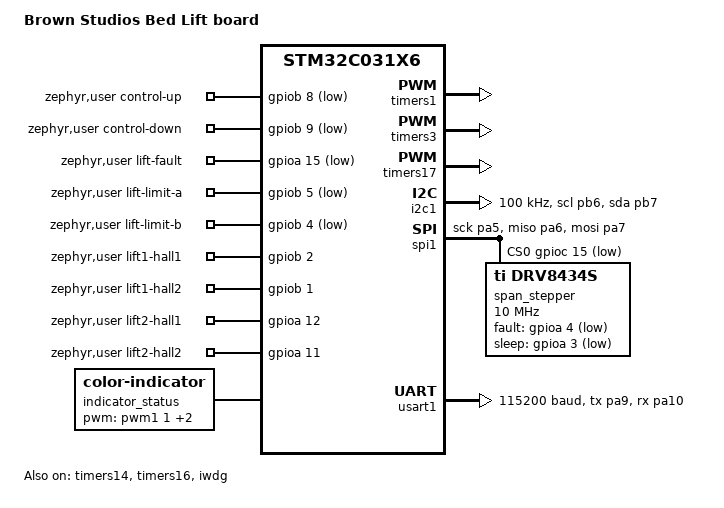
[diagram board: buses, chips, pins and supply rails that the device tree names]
/dts-v1/;
#include <st/c0/stm32c031X6.dtsi>
#include <st/c0/stm32c031c(4-6)tx-pinctrl.dtsi>

#define USE_SPI_DMA 0

/ {
	model = "Brown Studios Bed Lift board";
	compatible = "brownstudios,bedlift";

	chosen {
		zephyr,sram = &sram0;
		zephyr,flash = &flash0;
		zephyr,console = &usart1;
		zephyr,shell-uart = &usart1;
	};

	zephyr,user {
		control-up-gpios = <&gpiob 8 GPIO_ACTIVE_LOW>;
		control-down-gpios = <&gpiob 9 GPIO_ACTIVE_LOW>;
		lift-fault-gpios = <&gpioa 15 GPIO_ACTIVE_LOW>;
		lift-limit-a-gpios = <&gpiob 5 GPIO_ACTIVE_LOW>;
		lift-limit-b-gpios = <&gpiob 4 GPIO_ACTIVE_LOW>;
		lift1-hall1-gpios = <&gpiob 2 GPIO_ACTIVE_HIGH>;
		lift1-hall2-gpios = <&gpiob 1 GPIO_ACTIVE_HIGH>;
		lift2-hall1-gpios = <&gpioa 12 GPIO_ACTIVE_HIGH>;
		lift2-hall2-gpios = <&gpioa 11 GPIO_ACTIVE_HIGH>;
	};

	pwm_set {
		compatible = "pwm-set";

		span_step: span_step { /* frequency varies at runtime */
			pwms = <&pwm17 1 0 PWM_POLARITY_NORMAL>;
		};

		/* polarity inverted to facilitate use of slow decay mode */
		lift1_in1: lift1_in1 {
			pwms = <&pwm3 3 PWM_USEC(40) PWM_POLARITY_INVERTED>;
		};
		lift1_in2: lift1_in2 {
			pwms = <&pwm3 2 PWM_USEC(40) PWM_POLARITY_INVERTED>;
		};
		lift2_in1: lift2_in1 {
			pwms = <&pwm3 1 PWM_USEC(40) PWM_POLARITY_INVERTED>;
		};
		lift2_in2: lift2_in2 {
			pwms = <&pwm3 4 PWM_USEC(40) PWM_POLARITY_INVERTED>;
		};
	};

	indicator_status: indicator_status {
		compatible = "color-indicator";

		pwms = <&pwm1 1 PWM_USEC(1000) PWM_POLARITY_NORMAL>,
			<&pwm1 2 PWM_USEC(1000) PWM_POLARITY_NORMAL>,
			<&pwm1 3 PWM_USEC(1000) PWM_POLARITY_NORMAL>;
	};
};

&clk_hsi {
	status = "okay";
};

&rcc {
	clocks = <&clk_hsi>;
	clock-frequency = <DT_FREQ_M(48)>;
	ahb-prescaler = <1>;
	apb1-prescaler = <4>;
};

&exti {
	/* An interrupt decodes quadrature pulses from the lift hall sensors and must capture both edges
	 * of jitter pulses on the order of microseconds to track position.
	 * TODO: Change the hardware so the hall sensor inputs are on EXTI0-1 and EXTI2-3 with higher priority
	 *       then lower the priority of EXTI4-15. Unfortunately the pins are scattered across all EXTI lines.
	 * Requires elevated priority. */
	interrupts = <5 2>, <6 2>, <7 2>;
};

&timers1 {
	/* Divide the 24 MHz clock by 0+1 for timing 1000 Hz LED PWM. */
	st,prescaler = <0>;
	status = "okay";

	pwm1: pwm {
		/* red, green, blue */
		pinctrl-0 = <&tim1_ch1_pa0>, <&tim1_ch2_pa1>, <&tim1_ch3_pa2>;
		pinctrl-names = "default";
		status = "okay";
	};
};

&timers3 {
	/* Divide the 24 MHz clock by 0+1 for timing 25000 Hz lift actuator PWM. */
	st,prescaler = <0>;
	status = "okay";

	pwm3: pwm {
		/* lift2_in1, lift1_in2, lift1_in1, lift2_in2 */
		pinctrl-0 = <&tim3_ch1_pc6>, <&tim3_ch2_pb3>, <&tim3_ch3_pb0>, <&tim3_ch4_pa8>;
		pinctrl-names = "default";
		status = "okay";
	};
};

&timers14 {
	/* Divide the 24 MHz clock by 7+1 for timing 100 Hz span loop ticks. */
	st,prescaler = <7>;
	status = "okay";

    span_loop_tick: counter {
		compatible = "st,stm32-counter";
		status = "okay";
	};
};

&timers16 {
	/* Divide the 24 MHz clock by 7+1 for timing 100 Hz lift loop ticks.
	 * We could perhaps share this responsibility with the other timer but we have the hardware
	 * resources available and it's simpler to keep the loops decoupled. */
	st,prescaler = <7>;
	status = "okay";

    lift_loop_tick: counter {
		compatible = "st,stm32-counter";
		status = "okay";
	};
};

&timers17 {
	/* Divide the 24 MHz clock by 3+1 for timing 100 to 25000 Hz span actuator step pulses. */
	st,prescaler = <3>;
	status = "okay";

	/* An interrupt counts every step to track actuator position at high speed.
	 * Requires elevated priority. */
	interrupts = <22 2>;

	pwm17: pwm {
		pinctrl-0 = <&tim17_ch1_pc14>;
		pinctrl-names = "default";
		status = "okay";
	};
};

&i2c1 {
	pinctrl-0 = <&i2c1_scl_pb6>, <&i2c1_sda_pb7>;
	pinctrl-names = "default";
	clock-frequency = <I2C_BITRATE_STANDARD>;
	status = "okay";
};

&spi1 {
	pinctrl-0 = <&spi1_sck_pa5>, <&spi1_miso_pa6>, <&spi1_mosi_pa7>;
	pinctrl-names = "default";
	cs-gpios = <&gpioc 15 GPIO_ACTIVE_LOW>;
	status = "okay";

#if USE_SPI_DMA
	dmas = <&dma1 3 17 (STM32_DMA_PERIPH_TX | STM32_DMA_PRIORITY_HIGH)>,
			<&dma1 2 16 (STM32_DMA_PERIPH_RX | STM32_DMA_PRIORITY_HIGH)>;
	dma-names = "tx", "rx";
#endif

	span_stepper: spi-device@0 {
		compatible = "ti,drv8434s";

		status = "okay";
		reg = <0>;
		spi-max-frequency = <10000000>; /* datasheet maximum: 10 MHz */
		/* TODO: These will be needed for Zephyr 4.3, PIO currently has Zephyr 4.2.1.
		spi-cs-setup-delay-ns = <50>;
		spi-cs-hold-delay-ns = <50>;
		*/

		num-devices = <4>;
		fault-gpios = <&gpioa 4 GPIO_ACTIVE_LOW>;
		sleep-gpios = <&gpioa 3 GPIO_ACTIVE_LOW>;

		/* Current limit setting
		 *   4: 1.7 A
		 *   5: 1.4 A, circuit board very hot under the drv8434s chip
		 *   6: 1.2 A
		 *   7: 1.0 A
		 *   8: 0.8 A
		 */
		trq-dac = <8>;
	};
};

&usart1 {
	pinctrl-0 = <&usart1_tx_pa9>, <&usart1_rx_pa10>;
	pinctrl-names = "default";
	current-speed = <115200>;
	/* status = "okay"; */
};

&iwdg {
	status = "okay";
};

#if USE_SPI_DMA
&dma1 {
	status = "okay";
};
#endif
